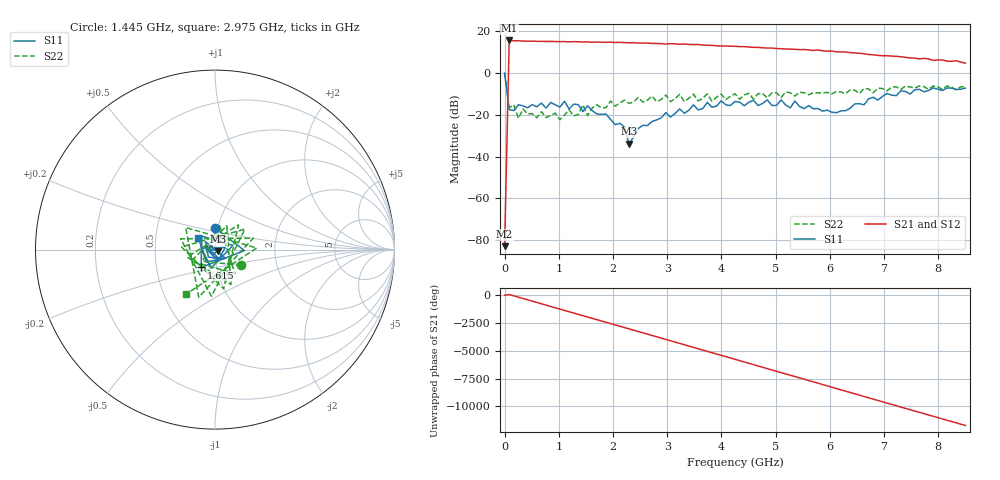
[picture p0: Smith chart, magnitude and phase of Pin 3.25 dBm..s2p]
! RsaToolbox (C) 2013 Rohde & Schwarz America
! Number of points: 101
! Number of ports: 2
! Balanced ports?: 0
# Hz S RI R 50
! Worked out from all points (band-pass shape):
!   101 points, 9 kHz to 8.5 GHz, reference 50 ohm
!   highest |S21| = 15.54 dB at 85.01 MHz (marker M1); lowest = -82.8 dB at 9 kHz (marker M2)
!   |S21| within 3 dB of the highest: 82.42 MHz to 4.441 GHz (4.358 GHz wide, 193 % of centre)
!   lowest |S11| = -33.8 dB at 2.295 GHz (marker M3), VSWR 1.04, Z = 51.9 - j0.834 ohm
!   |S11| at or under -10 dB: 48.42 MHz to 7.043 GHz (6.995 GHz wide, 197 % of centre); 7.076 GHz to 7.256 GHz (179.9 MHz wide, 2.51 % of centre); 7.472456 GHz to 7.484598 GHz (12.14 MHz wide, 0.162 % of centre)
!   |S22| runs from -22.4 to 0.0 dB; largest |S21 - S12| = 0
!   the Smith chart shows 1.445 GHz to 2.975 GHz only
!   S11 on the Smith chart (normalised r, x): 1.445 GHz: 0.98, +0.24; 1.615 GHz: 0.84, -0.17; 2.975 GHz: 0.82, +0.11
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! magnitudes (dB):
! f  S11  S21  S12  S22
! 9 kHz  -0.1  -82.8  -82.8  0.0
! 85.01 MHz  -17.5  15.5  15.5  -16.6
! 170 MHz  -18.0  15.4  15.4  -15.2
! 255 MHz  -15.2  15.4  15.4  -21.7
! 340 MHz  -15.8  15.2  15.2  -17.2
! 1.02 GHz  -16.3  15.0  15.0  -22.4
! 1.105 GHz  -13.5  15.0  15.0  -20.1
! 1.36 GHz  -15.2  14.9  14.9  -19.8
! 1.445 GHz  -18.4  14.8  14.8  -15.3
! 1.53 GHz  -15.7  14.9  14.9  -20.4
! 1.615 GHz  -18.0  14.7  14.7  -16.8
! 2.21 GHz  -25.9  14.5  14.5  -13.0
! 2.295 GHz  -33.8  14.4  14.4  -14.5
! 2.465 GHz  -26.5  14.3  14.3  -11.7
! 2.89 GHz  -21.5  14.0  14.0  -12.7
! 2.975 GHz  -19.0  13.8  13.8  -10.6
! 3.825 GHz  -16.4  13.2  13.2  -13.5
! 4.25 GHz  -13.6  12.7  12.7  -9.9
! 5.695 GHz  -17.1  10.7  10.7  -9.5
! 6.12 GHz  -19.0  10.1  10.1  -8.8
! 7.14 GHz  -10.6  8.1  8.1  -6.8
! 8.5 GHz  -7.2  4.7  4.7  -6.7
